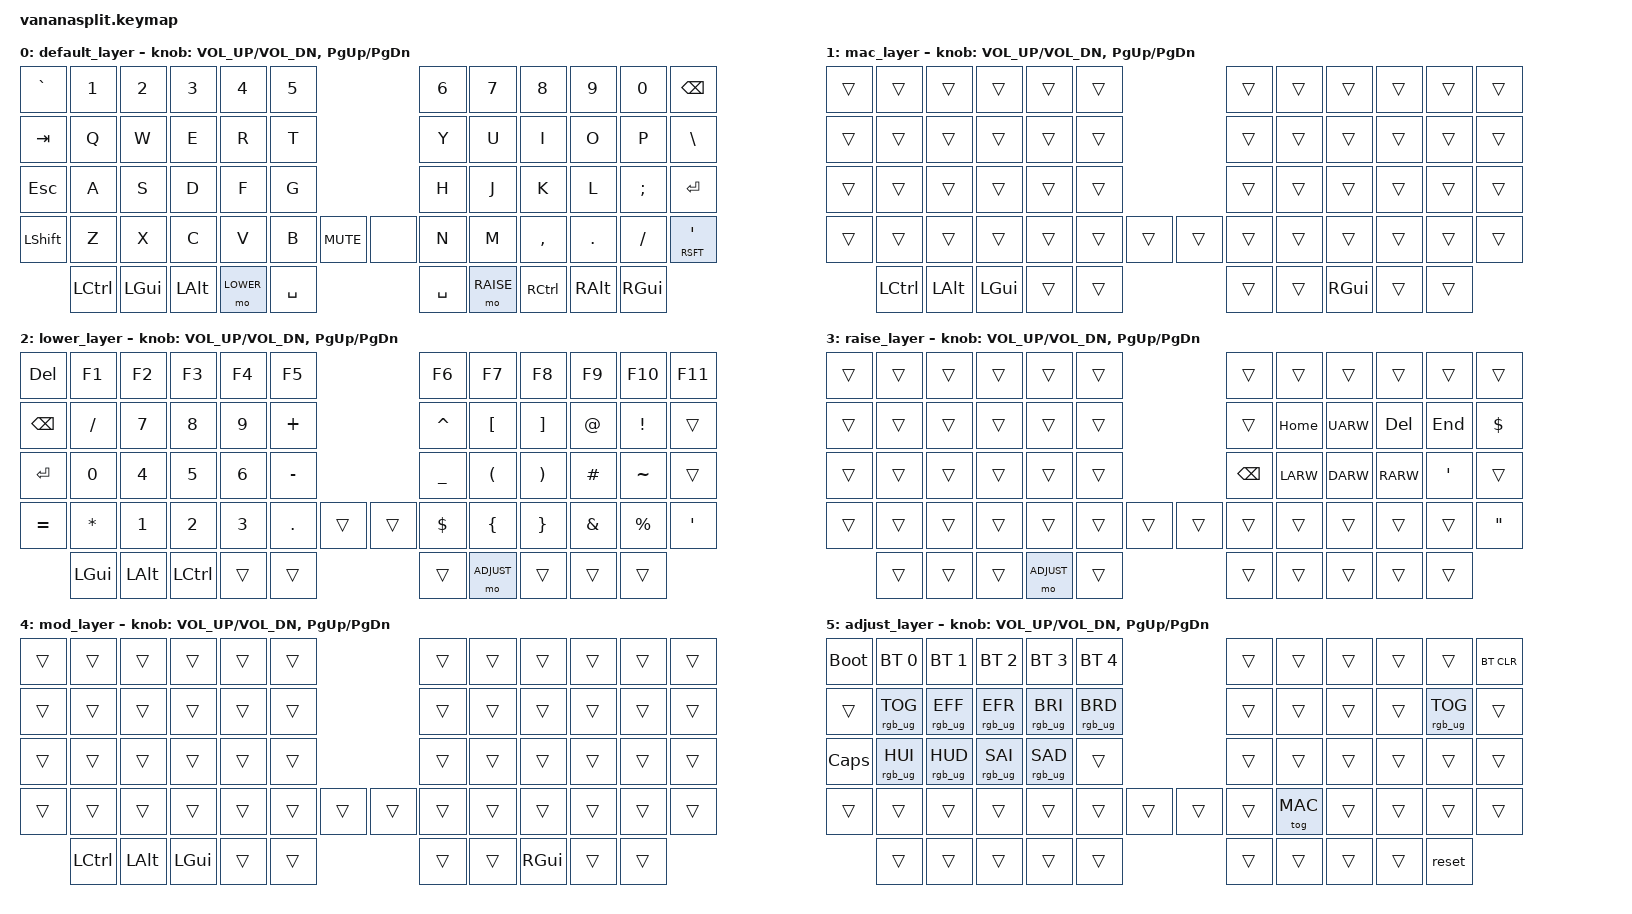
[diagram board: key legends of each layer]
/*
 * Copyright (c) 2020 The ZMK Contributors
 *
 * SPDX-License-Identifier: MIT
 */

#include <behaviors.dtsi>
#include <dt-bindings/zmk/keys.h>
#include <dt-bindings/zmk/bt.h>
#include <dt-bindings/zmk/rgb.h>

// custom keycode defs for easier access
#define DEFAULT 0
#define MAC     1
#define LOWER   2
#define RAISE   3
#define MOD     4
#define ADJUST  5

// ------------------------------------------------------------------------------------------------------------
// |  `    |  1  |  2  |  3   |  4   |  5   |                   |  6   |  7    |  8    |  9   |   0   |       |
// |  ESC  |  Q  |  W  |  E   |  R   |  T   |                   |  Y   |  U    |  I    |  O   |   P   | BKSPC |
// |  TAB  |  A  |  S  |  D   |  F   |  G   |                   |  H   |  J    |  K    |  L   |   ;   |   '   |
// | SHIFT |  Z  |  X  |  C   |  V   |  B   |  MUTE  |  | MUTE  |  N   |  M    |  ,    |  .   |   /   | SHIFT |
//               | GUI | ALT  | CTRL | LOWER|  ENTER |  | SPACE | RAISE| CTRL  | ALT   | GUI  |

/ {
    keymap {
        compatible = "zmk,keymap";

        default_layer {
            bindings = <
                &kp GRAVE   &kp N1      &kp N2      &kp N3      &kp N4      &kp N5                                  &kp N6      &kp N7      &kp N8      &kp N9      &kp N0      &kp BKSP     
                &kp TAB     &kp Q       &kp W       &kp E       &kp R       &kp T                                   &kp Y       &kp U       &kp I       &kp O       &kp P       &kp BSLH
                &kp ESC     &kp A       &kp S       &kp D       &kp F       &kp G                                   &kp H       &kp J       &kp K       &kp L       &kp SCLN    &kp RET
                &kp LSHFT   &kp Z       &kp X       &kp C       &kp V       &kp B       &kp C_MUTE      &none       &kp N       &kp M       &kp CMMA    &kp DOT     &kp FSLH    &mt RSFT SQT 
                            &kp LCTRL   &kp LGUI    &kp LALT   &mo LOWER   &kp SPACE                                &kp SPACE   &mo RAISE   &kp RCTRL   &kp RALT    &kp RGUI
            >;

            sensor-bindings = <&inc_dec_kp C_VOL_UP C_VOL_DN &inc_dec_kp PG_UP PG_DN>;
        };

        mac_layer {
            bindings = <
                &trans      &trans      &trans      &trans      &trans      &trans                                   &trans      &trans      &trans      &trans      &trans     &trans
                &trans      &trans      &trans      &trans      &trans      &trans                                   &trans      &trans      &trans      &trans      &trans     &trans
                &trans      &trans      &trans      &trans      &trans      &trans                                   &trans      &trans      &trans      &trans      &trans     &trans
                &trans      &trans      &trans      &trans      &trans      &trans      &trans         &trans        &trans      &trans      &trans      &trans      &trans     &trans
                            &kp LCTRL   &kp LALT    &kp LGUI    &trans      &trans                                   &trans      &trans      &kp RGUI    &trans      &trans
            >;

            sensor-bindings = <&inc_dec_kp C_VOL_UP C_VOL_DN &inc_dec_kp PG_UP PG_DN>;
        };

        lower_layer {
            bindings = <
                &kp DEL     &kp F1      &kp F2      &kp F3      &kp F4      &kp F5                                   &kp F6      &kp F7      &kp F8      &kp F9      &kp F10     &kp F11
                &kp BKSP    &kp FSLH    &kp NUM_7   &kp NUM_8   &kp NUM_9   &kp PLUS                                 &kp CARET   &kp LBKT    &kp RBKT    &kp AT      &kp EXCL    &trans 
                &kp RET     &kp NUM_0   &kp NUM_4   &kp NUM_5   &kp NUM_6   &kp MINUS                                &kp UNDER   &kp LPAR    &kp RPAR    &kp HASH    &kp TILDE   &trans 
                &kp EQUAL   &kp STAR    &kp NUM_1   &kp NUM_2   &kp NUM_3   &kp DOT      &trans         &trans       &kp DOLLAR  &kp LBRC    &kp RBRC    &kp AMPS    &kp PRCNT   &kp SQT
                            &kp LGUI    &kp LALT    &kp LCTRL   &trans      &trans                                   &trans      &mo ADJUST  &trans      &trans      &trans
            >;

            sensor-bindings = <&inc_dec_kp C_VOL_UP C_VOL_DN &inc_dec_kp PG_UP PG_DN>;
        };

        raise_layer {
            bindings = <
                &trans      &trans      &trans      &trans      &trans      &trans                                  &trans      &trans      &trans      &trans      &trans      &trans    
                &trans      &trans      &trans      &trans      &trans      &trans                                  &trans      &kp HOME    &kp UARW    &kp DEL     &kp END     &kp DOLLAR
                &trans      &trans      &trans      &trans      &trans      &trans                                  &kp BSPC    &kp LARW    &kp DARW    &kp RARW    &kp APOS    &trans 
                &trans      &trans      &trans      &trans      &trans      &trans      &trans          &trans      &trans      &trans      &trans      &trans      &trans      &kp DQT   
                            &trans      &trans      &trans      &mo ADJUST  &trans                                  &trans      &trans      &trans      &trans      &trans      
            >;

            sensor-bindings = <&inc_dec_kp C_VOL_UP C_VOL_DN &inc_dec_kp PG_UP PG_DN>;
        };

        mod_layer {
           bindings = <
                &trans      &trans      &trans      &trans      &trans      &trans                                   &trans      &trans      &trans      &trans      &trans     &trans
                &trans      &trans      &trans      &trans      &trans      &trans                                   &trans      &trans      &trans      &trans      &trans     &trans
                &trans      &trans      &trans      &trans      &trans      &trans                                   &trans      &trans      &trans      &trans      &trans     &trans
                &trans      &trans      &trans      &trans      &trans      &trans      &trans         &trans        &trans      &trans      &trans      &trans      &trans     &trans
                            &kp LCTRL   &kp LALT    &kp LGUI    &trans      &trans                                   &trans      &trans      &kp RGUI    &trans      &trans
            >;

            sensor-bindings = <&inc_dec_kp C_VOL_UP C_VOL_DN &inc_dec_kp PG_UP PG_DN>;
        };
        
        adjust_layer {
            bindings = <
                &bootloader &bt BT_SEL 0    &bt BT_SEL 1    &bt BT_SEL 2    &bt BT_SEL 3    &bt BT_SEL 4                                 &trans      &trans      &trans      &trans      &trans     &bt BT_CLR
                &trans      &rgb_ug RGB_TOG &rgb_ug RGB_EFF &rgb_ug RGB_EFR &rgb_ug RGB_BRI &rgb_ug RGB_BRD                              &trans      &trans      &trans      &trans      &rgb_ug RGB_TOG     &trans
                &kp CAPS    &rgb_ug RGB_HUI &rgb_ug RGB_HUD &rgb_ug RGB_SAI &rgb_ug RGB_SAD &trans                                       &trans      &trans      &trans      &trans      &trans     &trans
                &trans      &trans          &trans          &trans          &trans          &trans              &trans        &trans     &trans      &tog MAC    &trans      &trans      &trans     &trans
                            &trans          &trans          &trans          &trans          &trans                                       &trans      &trans      &trans      &trans      &reset
            >;

            sensor-bindings = <&inc_dec_kp C_VOL_UP C_VOL_DN &inc_dec_kp PG_UP PG_DN>;
        };
    };
};
